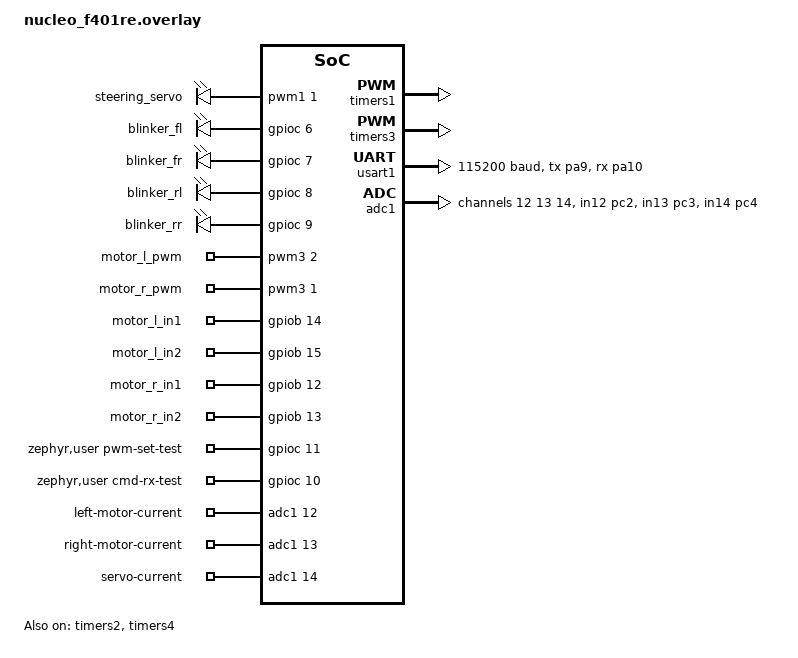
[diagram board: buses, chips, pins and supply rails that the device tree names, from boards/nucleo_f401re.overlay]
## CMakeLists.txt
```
cmake_minimum_required(VERSION 3.28.0)

option(LAB2_WHEEL_STEERING "Real wheel to steering, motors disabled" OFF)
option(LAB2_WHEEL_DUAL_DRIVE "Two-encoder mean-speed control, steering and lights" OFF)
option(LAB2_ENCODER_ONLY "Standalone encoder readout without Pi or actuator PWM" OFF)
if(LAB2_WHEEL_STEERING AND NOT LAB2_WHEEL_DUAL_DRIVE)
    message(FATAL_ERROR "The standalone steering profile was removed; enable LAB2_WHEEL_DUAL_DRIVE")
endif()
if(LAB2_WHEEL_DUAL_DRIVE AND NOT LAB2_WHEEL_STEERING)
    message(FATAL_ERROR "Dual drive requires LAB2_WHEEL_STEERING")
endif()
find_package(Zephyr REQUIRED HINTS $ENV{ZEPHYR_BASE})
project(lab2)

target_sources(app PRIVATE ../logic/instrumentation/test_points.c)
target_include_directories(app PRIVATE ../logic/instrumentation)

option(LAB2_UART_PWM_BENCH "Remote fixed-PWM voltage test" OFF)
if(LAB2_WHEEL_STEERING AND (LAB2_ENCODER_ONLY OR LAB2_UART_PWM_BENCH OR LAB2_UART_DIAGNOSTIC))
    message(FATAL_ERROR "Wheel steering is a separate profile")
endif()
if(LAB2_ENCODER_ONLY AND LAB2_UART_PWM_BENCH)
    message(FATAL_ERROR "Select either encoder-only or actuator bench")
endif()
if(LAB2_WHEEL_STEERING)
    target_sources(app PRIVATE src/wheel_dual_main.c)
    target_sources(app PRIVATE
        ../logic/steering/servo.c ../logic/steering/wheel_mapping.c
        ../logic/steering/wheel_buttons.c ../logic/blinkers/blinkers.c
        ../logic/comms/pi_link.c)
    target_include_directories(app PRIVATE ../logic/steering ../logic/comms ../logic/blinkers)
    target_compile_definitions(app PRIVATE LAB2_RAW_WHEEL_LINK=1
        SERVO_PULSE_LEFT_US=1000U SERVO_PULSE_RIGHT_US=2000U)
    # Polled every 20 ms: nominal disconnect response <=95 ms plus output execution.
    target_compile_definitions(app PRIVATE LINK_TIMEOUT_MS=75)
    if(LAB2_WHEEL_DUAL_DRIVE)
        target_sources(app PRIVATE ../logic/drive/dual_drive.c ../logic/drive/dual_speed_pid.c
            ../logic/drive/motor_control.c ../logic/drive/encoder.c ../logic/drive/encoder_math.c
            ../logic/sensing/current_sense.c
            ../logic/system/system_state.c
            src/encoder_shell.c)
        target_include_directories(app PRIVATE ../logic/drive ../logic/sensing ../logic/system)
        # User observed negative right RPM while physically driving forward: invert feedback only.
        target_compile_definitions(app PRIVATE LAB2_WHEEL_DUAL_DRIVE=1 MOTOR_TIMING_WHEEL=LEFT_MOTOR
            ENCODER_RIGHT_DEFAULT_SIGN=-1)
    endif()
elseif(LAB2_ENCODER_ONLY)
    target_sources(app PRIVATE src/encoder_only_main.c src/encoder_shell.c
        ../logic/drive/encoder.c ../logic/drive/encoder_math.c)
    target_include_directories(app PRIVATE ../logic/drive)
elseif(LAB2_UART_PWM_BENCH)
    target_sources(app PRIVATE
        src/uart_pwm_bench.c
        ../logic/system/system_state.c
        src/encoder_shell.c
        ../logic/steering/servo.c
        ../logic/blinkers/blinkers.c
        ../logic/drive/encoder.c
        ../logic/drive/encoder_math.c
        ../logic/drive/motor_control.c
        ../logic/drive/brake.c
        ../logic/comms/pi_link.c
    )
    target_include_directories(app PRIVATE ../logic/drive ../logic/comms ../logic/steering ../logic/blinkers ../logic/system)
    target_compile_definitions(app PRIVATE LINK_TIMEOUT_MS=60)
else()
target_sources(app PRIVATE
    src/main.c
    src/encoder_shell.c
    src/speed_shell.c
    ../logic/steering/servo.c
    ../logic/blinkers/blinkers.c
    ../logic/drive/motor_control.c
    ../logic/drive/brake.c
    ../logic/drive/encoder.c
    ../logic/drive/encoder_math.c
    ../logic/drive/speed_pi.c
    ../logic/drive/speed_control.c
    ../logic/sensing/current_sense.c
)

target_include_directories(app PRIVATE
    ../logic/steering
    ../logic/blinkers
    ../logic/drive
    ../logic/sensing
)

endif()

# Optional transport-only bench test; motor/servo commands from Pi are not applied.
option(LAB2_UART_DIAGNOSTIC "Enable Pi UART bench diagnostics" OFF)
if(LAB2_UART_DIAGNOSTIC AND (LAB2_UART_PWM_BENCH OR LAB2_ENCODER_ONLY OR LAB2_WHEEL_STEERING))
    message(FATAL_ERROR "Select only one UART bench profile")
endif()
if(LAB2_UART_DIAGNOSTIC)
    target_sources(app PRIVATE
        src/link_diagnostic.c
        ../logic/comms/pi_link.c
    )
    target_include_directories(app PRIVATE ../logic/comms)
    target_compile_definitions(app PRIVATE LAB2_UART_DIAGNOSTIC=1)
endif()
```

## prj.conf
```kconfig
CONFIG_PWM=y
CONFIG_GPIO=y
CONFIG_ADC=y

# Interactive servo testing over the Nucleo ST-LINK virtual serial port.
CONFIG_SERIAL=y
CONFIG_CONSOLE=y
CONFIG_UART_CONSOLE=y
CONFIG_PRINTK=y
CONFIG_SHELL=y
CONFIG_SHELL_BACKEND_SERIAL=y
CONFIG_GPIO_SHELL=y

# Dual timer quadrature encoders (TIM2/TIM4).
CONFIG_SENSOR=y
CONFIG_QDEC_STM32=y
CONFIG_SYS_CLOCK_TICKS_PER_SEC=1000
```

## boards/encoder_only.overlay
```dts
/* Keep actuator PWM pins unassigned. Encoder supplies remain external. */
&pwm1 { status = "disabled"; };
&pwm3 { status = "disabled"; };
&timers1 { status = "disabled"; };
&timers3 { status = "disabled"; };
&usart1 { status = "disabled"; };
```

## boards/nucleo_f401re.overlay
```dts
#include <zephyr/dt-bindings/pwm/pwm.h>
#include <zephyr/dt-bindings/gpio/gpio.h>
#include <zephyr/dt-bindings/adc/adc.h>

/ {
	aliases {
		steering-servo = &steering_servo;
		blinker-fl = &blinker_fl;
		blinker-fr = &blinker_fr;
		blinker-rl = &blinker_rl;
		blinker-rr = &blinker_rr;
		
		/* Motor Speed PWM Aliases */
		motor-left-pwm  = &motor_l_pwm;
		motor-right-pwm = &motor_r_pwm;

		/* Motor Direction GPIO Aliases */
		motor-left-in1  = &motor_l_in1;
		motor-left-in2  = &motor_l_in2;
		motor-right-in1 = &motor_r_in1;
		motor-right-in2 = &motor_r_in2;
	};

	servo_pwms {
		compatible = "pwm-leds";

		steering_servo: steering-servo {
			pwms = <&pwm1 1 PWM_MSEC(20) PWM_POLARITY_NORMAL>;
		};
	};

	blinker_outputs {
		compatible = "gpio-leds";

		blinker_fl: blinker-fl { gpios = <&gpioc 6 GPIO_ACTIVE_HIGH>; };
		blinker_fr: blinker-fr { gpios = <&gpioc 7 GPIO_ACTIVE_HIGH>; };
		blinker_rl: blinker-rl { gpios = <&gpioc 8 GPIO_ACTIVE_HIGH>; };
		blinker_rr: blinker-rr { gpios = <&gpioc 9 GPIO_ACTIVE_HIGH>; };
	};

	motor_pwms {
		compatible = "pwm-leds";

		motor_l_pwm: motor_l_pwm { pwms = <&pwm3 2 PWM_KHZ(20) PWM_POLARITY_NORMAL>; };
		motor_r_pwm: motor_r_pwm { pwms = <&pwm3 1 PWM_KHZ(20) PWM_POLARITY_NORMAL>; };
	};

	motor_direction {
		compatible = "gpio-leds";

		/* Physical left wheel: bridge B (PB14, PB15), confirmed during bench test. */
		motor_l_in1: motor_l_in1 { gpios = <&gpiob 14 GPIO_ACTIVE_HIGH>; };
		motor_l_in2: motor_l_in2 { gpios = <&gpiob 15 GPIO_ACTIVE_HIGH>; };

		/* Physical right wheel: bridge A (PB12, PB13). */
		motor_r_in1: motor_r_in1 { gpios = <&gpiob 12 GPIO_ACTIVE_HIGH>; };
		motor_r_in2: motor_r_in2 { gpios = <&gpiob 13 GPIO_ACTIVE_HIGH>; };
	};

	zephyr,user {
		/* ACS712 divider outputs: left PC2, right PC3, servo PC4. */
		io-channels = <&adc1 12>, <&adc1 13>, <&adc1 14>;
		io-channel-names = "left-motor-current", "right-motor-current", "servo-current";
	};

};

/* PA8 is the board's default I2C3 SCL pin, so release it for TIM1_CH1. */
&i2c3 {
	status = "disabled";
};

/* PWM1: Steering Servo (PA8 / TIM1_CH1) */
&timers1 {
	/* 84 MHz / (83 + 1) = 1 MHz, giving 1 us PWM resolution. */
	st,prescaler = <83>;
	status = "okay";

	pwm1: pwm {
		pinctrl-0 = <&tim1_ch1_pa8>;
		pinctrl-names = "default";
		status = "okay";
	};
};

/* PWM3: Drive Motors (PA6/TIM3_CH1 & PA7/TIM3_CH2 at 20 kHz) */
&timers3 {
	status = "okay";

	pwm3: pwm {
		status = "okay";
		pinctrl-0 = <&tim3_ch1_pa6 &tim3_ch2_pa7>;
		pinctrl-names = "default";
	};
};
/* Lab2 wheel encoders: 1320 counts per wheel revolution, supported by ten-turn measurements.
 * Keep Sidrisha's motor TIM3 and Ryan's servo TIM1 assignments unchanged. */
/ {
 aliases {
  encoder-left = &encoder_left;
  encoder-right = &encoder_right;
 };
 pwmleds { status = "disabled"; };
};

/* Default board drivers otherwise claim encoder and motor pins. */
&pwm2 { status = "disabled"; };
&spi1 { status = "disabled"; };
&spi2 { status = "disabled"; };

/* Preserve USART2 debug; reserve the Pi link on PA9/PA10, not PB6/PB7. */
&usart1 {
 pinctrl-0 = <&usart1_tx_pa9 &usart1_rx_pa10>;
 pinctrl-names = "default";
 current-speed = <115200>;
 status = "okay";
};

&timers2 {
 status = "okay";
 st,prescaler = <0>;
 encoder_left: qdec {
  status = "okay";
  pinctrl-0 = <&tim2_ch1_pa0 &tim2_ch2_pa1>;
  pinctrl-names = "default";
  st,encoder-mode = <3>; /* Both A/B edges: x4. */
  st,counts-per-revolution = <1320>;
  st,input-filter-level = <3>;
 };
};
&timers4 {
 status = "okay";
 st,prescaler = <0>;
 encoder_right: qdec {
  status = "okay";
  pinctrl-0 = <&tim4_ch1_pb6 &tim4_ch2_pb7>;
  pinctrl-names = "default";
  st,encoder-mode = <3>;
  st,counts-per-revolution = <1320>;
  st,input-filter-level = <3>;
 };
};

/* Scope markers: shared driver marks final LEFT PWM writes; PWM_OUT taps PA7. */
/ { zephyr,user { pwm-set-test-gpios = <&gpioc 11 GPIO_ACTIVE_HIGH>; }; };

/* USART1 is separate from the USART2 ST-LINK console. */
/ {
 chosen { pilink,uart = &usart1; };
 zephyr,user { cmd-rx-test-gpios = <&gpioc 10 GPIO_ACTIVE_HIGH>; };
};

/* ADC1: ACS712 divider outputs on PC2/IN12, PC3/IN13 and PC4/IN14. */
&adc1 {
	#address-cells = <1>;
	#size-cells = <0>;
	pinctrl-0 = <&adc1_in12_pc2 &adc1_in13_pc3 &adc1_in14_pc4>;
	pinctrl-names = "default";
	status = "okay";

	channel@c {
		reg = <12>;
		zephyr,gain = "ADC_GAIN_1";
		zephyr,reference = "ADC_REF_INTERNAL";
		zephyr,acquisition-time = <ADC_ACQ_TIME_MAX>;
		zephyr,resolution = <12>;
	};

	channel@d {
		reg = <13>;
		zephyr,gain = "ADC_GAIN_1";
		zephyr,reference = "ADC_REF_INTERNAL";
		zephyr,acquisition-time = <ADC_ACQ_TIME_MAX>;
		zephyr,resolution = <12>;
	};

	channel@e {
		reg = <14>;
		zephyr,gain = "ADC_GAIN_1";
		zephyr,reference = "ADC_REF_INTERNAL";
		zephyr,acquisition-time = <ADC_ACQ_TIME_MAX>;
		zephyr,resolution = <12>;
	};
};
```

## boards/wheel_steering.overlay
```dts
/* Steering/UART only. Motor PWM and encoder timers are not used. */
&pwm3 { status = "disabled"; };
&timers3 { status = "disabled"; };
&encoder_left { status = "disabled"; };
&encoder_right { status = "disabled"; };
&timers2 { status = "disabled"; };
&timers4 { status = "disabled"; };
```

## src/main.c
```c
#include <errno.h>
#include <stdint.h>
#include <stdlib.h>
#include <string.h>

#include <zephyr/kernel.h>
#include <zephyr/shell/shell.h>

#include "blinkers.h"
#include "current_sense.h"
#include "servo.h"
#include "motor_control.h"
#include "brake.h"
#include "encoder.h"
#include "speed_control.h"
#ifdef LAB2_UART_DIAGNOSTIC
#include "pi_link.h"
#endif

//
//	SERVO
//
static int cmd_servo_init(const struct shell *sh, size_t argc, char **argv)
{
	ARG_UNUSED(argc);
	ARG_UNUSED(argv);

	int rc = servo_init();

	if (rc != 0) {
		shell_error(sh, "servo_init failed: %d", rc);
		return rc;
	}

	shell_print(sh, "Servo initialized at center (%u us)",
		    servo_get_last_pulse_us());
	(void)blinkers_update_steering(0);
	return 0;
}

static int cmd_servo_set(const struct shell *sh, size_t argc, char **argv)
{
	char *end;
	long steering;
	int rc;

	ARG_UNUSED(argc);

	errno = 0;
	steering = strtol(argv[1], &end, 10);
	if (errno != 0 || *argv[1] == '\0' || *end != '\0' ||
	    steering < SERVO_STEERING_MIN || steering > SERVO_STEERING_MAX) {
		shell_error(sh, "Expected an integer from -100 to 100");
		return -EINVAL;
	}

	rc = servo_set_steering((int16_t)steering);
	if (rc != 0) {
		shell_error(sh, "Set failed: %d (run 'servo init' first)", rc);
		return rc;
	}

	shell_print(sh, "Steering %ld -> %u us", steering,
		    servo_get_last_pulse_us());
	(void)blinkers_update_steering((int16_t)steering);
	return 0;
}

static int cmd_servo_center(const struct shell *sh, size_t argc, char **argv)
{
	ARG_UNUSED(argc);
	ARG_UNUSED(argv);

	int rc = servo_center();

	if (rc != 0) {
		shell_error(sh, "Center failed: %d (run 'servo init' first)", rc);
		return rc;
	}

	shell_print(sh, "Servo centered at %u us", servo_get_last_pulse_us());
	(void)blinkers_update_steering(0);
	return 0;
}

static int cmd_servo_off(const struct shell *sh, size_t argc, char **argv)
{
	ARG_UNUSED(argc);
	ARG_UNUSED(argv);

	int rc = servo_disable();

	if (rc != 0) {
		shell_error(sh, "Disable failed: %d (run 'servo init' first)", rc);
		return rc;
	}

	shell_print(sh, "Servo PWM disabled");
	return 0;
}

static int cmd_servo_status(const struct shell *sh, size_t argc, char **argv)
{
	ARG_UNUSED(argc);
	ARG_UNUSED(argv);

	uint32_t pulse_us = servo_get_last_pulse_us();

	if (pulse_us == 0U) {
		shell_print(sh, "Servo PWM is inactive or not initialized");
	} else {
		shell_print(sh, "Last commanded pulse: %u us", pulse_us);
	}

	return 0;
}

SHELL_STATIC_SUBCMD_SET_CREATE(
	servo_commands,
	SHELL_CMD(init, NULL, "Initialize PWM and move to center", cmd_servo_init),
	SHELL_CMD_ARG(set, NULL, "Set steering from -100 to 100", cmd_servo_set, 2, 0),
	SHELL_CMD(center, NULL, "Move to calibrated center", cmd_servo_center),
	SHELL_CMD(off, NULL, "Disable the PWM output", cmd_servo_off),
	SHELL_CMD(status, NULL, "Show the last commanded pulse", cmd_servo_status),
	SHELL_SUBCMD_SET_END);

SHELL_CMD_REGISTER(servo, &servo_commands, "Steering servo test commands", NULL);

//
//	BLINKERS
//

static const char *blinker_mode_name(enum blinker_mode mode)
{
	switch (mode) {
	case BLINKER_MODE_OFF:
		return "off";
	case BLINKER_MODE_LEFT:
		return "left";
	case BLINKER_MODE_RIGHT:
		return "right";
	case BLINKER_MODE_HAZARD:
		return "hazard";
	default:
		return "unknown";
	}
}

static int set_blinker_mode(const struct shell *sh, enum blinker_mode mode)
{
	int rc = blinkers_set_mode(mode);

	if (rc != 0) {
		shell_error(sh, "Blinker command failed: %d", rc);
		return rc;
	}

	shell_print(sh, "Blinker mode: %s", blinker_mode_name(mode));
	return 0;
}

static int cmd_blinker_init(const struct shell *sh, size_t argc, char **argv)
{
	int rc;

	ARG_UNUSED(argc);
	ARG_UNUSED(argv);

	rc = blinkers_init();
	if (rc != 0) {
		shell_error(sh, "Blinker initialization failed: %d", rc);
		return rc;
	}

	shell_print(sh, "Blinkers initialized and off");
	return 0;
}

static int cmd_blinker_left(const struct shell *sh, size_t argc, char **argv)
{
	ARG_UNUSED(argc);
	ARG_UNUSED(argv);
	return set_blinker_mode(sh, BLINKER_MODE_LEFT);
}

static int cmd_blinker_right(const struct shell *sh, size_t argc, char **argv)
{
	ARG_UNUSED(argc);
	ARG_UNUSED(argv);
	return set_blinker_mode(sh, BLINKER_MODE_RIGHT);
}

static int cmd_blinker_hazard(const struct shell *sh, size_t argc, char **argv)
{
	ARG_UNUSED(argc);
	ARG_UNUSED(argv);
	return set_blinker_mode(sh, BLINKER_MODE_HAZARD);
}

static int cmd_blinker_off(const struct shell *sh, size_t argc, char **argv)
{
	ARG_UNUSED(argc);
	ARG_UNUSED(argv);
	return set_blinker_mode(sh, BLINKER_MODE_OFF);
}

static int cmd_blinker_steering(const struct shell *sh, size_t argc,
				char **argv)
{
	char *end;
	long steering;
	int rc;

	ARG_UNUSED(argc);

	errno = 0;
	steering = strtol(argv[1], &end, 10);
	if (errno != 0 || *argv[1] == '\0' || *end != '\0' || steering < -100 ||
	    steering > 100) {
		shell_error(sh, "Expected an integer from -100 to 100");
		return -EINVAL;
	}

	rc = blinkers_update_steering((int16_t)steering);
	if (rc != 0) {
		shell_error(sh, "Steering update failed: %d", rc);
		return rc;
	}

	shell_print(sh, "Steering %ld; mode=%s; turn-crossed=%s", steering,
		    blinker_mode_name(blinkers_get_mode()),
		    blinkers_turn_crossed() ? "yes" : "no");
	return 0;
}

static int cmd_blinker_status(const struct shell *sh, size_t argc, char **argv)
{
	ARG_UNUSED(argc);
	ARG_UNUSED(argv);

	shell_print(sh, "mode=%s steering=%d turn-crossed=%s",
		    blinker_mode_name(blinkers_get_mode()),
		    blinkers_get_last_steering(),
		    blinkers_turn_crossed() ? "yes" : "no");
	return 0;
}

SHELL_STATIC_SUBCMD_SET_CREATE(
	blinker_commands,
	SHELL_CMD(init, NULL, "Initialize all blinker GPIOs off", cmd_blinker_init),
	SHELL_CMD(left, NULL, "Select the left turn signal", cmd_blinker_left),
	SHELL_CMD(right, NULL, "Select the right turn signal", cmd_blinker_right),
	SHELL_CMD(hazard, NULL, "Flash all four outputs at 2 Hz",
		  cmd_blinker_hazard),
	SHELL_CMD(off, NULL, "Turn every blinker off", cmd_blinker_off),
	SHELL_CMD_ARG(steering, NULL, "Feed steering position from -100 to 100",
		      cmd_blinker_steering, 2, 0),
	SHELL_CMD(status, NULL, "Show the blinker state", cmd_blinker_status),
	SHELL_SUBCMD_SET_END);

SHELL_CMD_REGISTER(blinker, &blinker_commands, "Blinker test commands", NULL);

//
//	MOTOR CONTROL
//
static int cmd_motor_init(const struct shell *sh, size_t argc, char **argv)
{
    int rc = speed_control_manual_init();
    if (rc == 0) {
        shell_print(sh, "Motor driver initialized successfully.");
    } else {
        shell_error(sh, "Motor driver initialization failed: %d", rc);
    }
    return rc;
}

static int cmd_motor_set(const struct shell *sh, size_t argc, char **argv)
{
    if (argc != 4) {
        shell_error(sh, "Usage: motor set <left|right> <forward|backward|free|stop> <duty_cycle: 0-100>");
        return -EINVAL;
    }

    /* 1. Parse Motor Channel */
    motor_mapping_t motor;
    if (strcmp(argv[1], "left") == 0) {
        motor = LEFT_MOTOR;
    } else if (strcmp(argv[1], "right") == 0) {
        motor = RIGHT_MOTOR;
    } else {
        shell_error(sh, "Invalid motor: %s (use 'left' or 'right')", argv[1]);
        return -EINVAL;
    }

    /* 2. Parse Direction */
    direction_t dir;
    if (strcmp(argv[2], "forward") == 0) {
        dir = FORWARD;
    } else if (strcmp(argv[2], "backward") == 0) {
        dir = BACKWARD;
    } else if (strcmp(argv[2], "free") == 0) {
        dir = FREE;
    } else if (strcmp(argv[2], "stop") == 0) {
        dir = STOP;
    } else {
        shell_error(sh, "Invalid direction: %s (use 'forward', 'backward', 'free', or 'stop')", argv[2]);
        return -EINVAL;
    }

    /* 3. Parse Duty Cycle */
    char *end;
    errno = 0;
    unsigned long parsed_duty = strtoul(argv[3], &end, 10);

    if (errno != 0 || argv[3][0] < '0' || argv[3][0] > '9' ||
        *end != '\0' || parsed_duty > MAX_DUTY_CYCLE) {
        shell_error(sh, "Expected an integer duty cycle from 0 to %d", MAX_DUTY_CYCLE);
        return -EINVAL;
    }
    uint32_t duty_cycle = (uint32_t)parsed_duty;

    /* Execute Driver Call */
    int rc = speed_control_manual_set(motor, duty_cycle, dir);
    if (rc == 0) {
        if (dir == FREE || dir == STOP) {
            shell_print(sh, "Motor %s: %s (duty argument ignored).", argv[1],
                        dir == FREE ? "coasting, EN off" : "braking, EN on");
        } else {
            shell_print(sh, "Motor %s set to %s at %u%% duty cycle.", argv[1], argv[2], duty_cycle);
        }
    } else {
        shell_error(sh, "Failed to set motor parameters (code %d).", rc);
    }

    return rc;
}

static int cmd_motor_brake(const struct shell *sh, size_t argc, char **argv)
{
    ARG_UNUSED(argc);
    ARG_UNUSED(argv);
    int rc = speed_control_set_brake(true);
    if (rc != 0) {
        shell_error(sh, "Braking failed on at least one motor: %d", rc);
    } else {
        shell_print(sh, "Both motors: dynamic braking");
    }
    return rc;
}

SHELL_STATIC_SUBCMD_SET_CREATE(sub_motor,
    SHELL_CMD(brake, NULL, "Dynamically brake both motors", cmd_motor_brake),
    SHELL_CMD(init, NULL, "Initialize motor driver pins & PWM", cmd_motor_init),
    SHELL_CMD(set, NULL, "Set motor: motor set <left|right> <forward|backward|free|stop> <duty_cycle>", cmd_motor_set),
    SHELL_SUBCMD_SET_END
);

SHELL_CMD_REGISTER(motor, &sub_motor, "Motor driver control commands", NULL);

//
// CURRENT SENSORS
//

static int print_current_readings(const struct shell *sh)
{
	for (int i = 0; i < CURRENT_SENSE_CHANNEL_COUNT; ++i) {
		struct current_sense_sample sample;
		int rc = current_sense_read((enum current_sense_channel)i, &sample);

		if (rc != 0) {
			shell_error(sh, "%s ADC read failed: %d",
				    current_sense_channel_name(i), rc);
			return rc;
		}

		if (sample.zero_valid) {
			shell_print(sh,
				    "%s: raw=%u adc=%d mV delta=%+d mV current=%+d mA",
				    current_sense_channel_name(i), sample.raw,
				    sample.adc_mv, sample.delta_mv,
				    sample.current_ma);
		} else {
			shell_print(sh,
				    "%s: raw=%u adc=%d mV (run 'current zero' unloaded)",
				    current_sense_channel_name(i), sample.raw,
				    sample.adc_mv);
		}
	}

	return 0;
}

static int cmd_current_init(const struct shell *sh, size_t argc, char **argv)
{
	ARG_UNUSED(argc);
	ARG_UNUSED(argv);

	int rc = current_sense_init();

	if (rc != 0) {
		shell_error(sh, "Current sensor ADC initialization failed: %d", rc);
		return rc;
	}

	shell_print(sh, "Current sensor ADC initialized (PC2 left, PC3 right, PC4 servo)");
	return 0;
}

static int cmd_current_read(const struct shell *sh, size_t argc, char **argv)
{
	ARG_UNUSED(argc);
	ARG_UNUSED(argv);

	return print_current_readings(sh);
}

static int cmd_current_zero(const struct shell *sh, size_t argc, char **argv)
{
	int rc;

	ARG_UNUSED(argc);
	ARG_UNUSED(argv);

	rc = current_sense_zero_all();
	if (rc != 0) {
		shell_error(sh, "Current sensor zero calibration failed: %d", rc);
		return rc;
	}

	shell_print(sh, "Captured unloaded zero for all current sensors");
	return print_current_readings(sh);
}

static int cmd_current_servo_sweep(const struct shell *sh, size_t argc,
				   char **argv)
{
	struct current_sense_sample sample;
	int32_t minimum_ma = INT32_MAX;
	int32_t maximum_ma = INT32_MIN;
	int32_t peak_ma = 0;
	int64_t total_ma = 0;
	int64_t deadline;
	uint32_t count = 0U;
	int rc;

	ARG_UNUSED(argc);
	ARG_UNUSED(argv);

	rc = current_sense_read(CURRENT_SENSE_SERVO, &sample);
	if (rc != 0 || !sample.zero_valid) {
		shell_error(sh, "Run 'current zero' with the servo supply off first");
		return rc != 0 ? rc : -EACCES;
	}

	rc = servo_init();
	if (rc != 0) {
		shell_error(sh, "Servo initialization failed: %d", rc);
		return rc;
	}
	/* Establish a known starting position before capturing a full movement. */
	k_msleep(300);
	rc = servo_set_steering(-50);
	if (rc != 0) {
		goto cleanup;
	}
	k_msleep(300);
	rc = servo_set_steering(50);
	if (rc != 0) {
		goto cleanup;
	}

	deadline = k_uptime_get() + 600;
	while (k_uptime_get() < deadline) {
		int32_t magnitude;

		rc = current_sense_read(CURRENT_SENSE_SERVO, &sample);
		if (rc != 0) {
			goto cleanup;
		}
		minimum_ma = MIN(minimum_ma, sample.current_ma);
		maximum_ma = MAX(maximum_ma, sample.current_ma);
		magnitude = sample.current_ma < 0 ? -sample.current_ma
						 : sample.current_ma;
		peak_ma = MAX(peak_ma, magnitude);
		total_ma += sample.current_ma;
		count++;
		k_msleep(2);
	}

cleanup:
	(void)servo_center();
	k_msleep(200);
	(void)servo_disable();
	if (rc != 0) {
		shell_error(sh, "Servo current capture failed: %d", rc);
		return rc;
	}
	if (count == 0U) {
		return -EIO;
	}

	shell_print(sh,
		    "Servo sweep captured %u readings: min=%+d mA max=%+d mA average=%+lld mA peak_abs=%d mA",
		    count, minimum_ma, maximum_ma,
		    (long long)(total_ma / count), peak_ma);
	shell_print(sh, "Servo returned to center and PWM is off");
	return 0;
}

static int cmd_current_motor_run(const struct shell *sh, size_t argc,
				 char **argv)
{
	enum current_sense_channel channel;
	motor_mapping_t motor;
	const char *name;
	struct current_sense_sample sample;
	int32_t minimum_ma = INT32_MAX;
	int32_t maximum_ma = INT32_MIN;
	int32_t peak_ma = 0;
	int64_t total_ma = 0;
	int64_t deadline;
	uint32_t count = 0U;
	int rc;

	if (argc != 2) {
		shell_error(sh, "Usage: current motor_run <left|right>");
		return -EINVAL;
	}
	if (strcmp(argv[1], "left") == 0) {
		channel = CURRENT_SENSE_LEFT_MOTOR;
		motor = LEFT_MOTOR;
		name = "Left";
	} else if (strcmp(argv[1], "right") == 0) {
		channel = CURRENT_SENSE_RIGHT_MOTOR;
		motor = RIGHT_MOTOR;
		name = "Right";
	} else {
		shell_error(sh, "Expected left or right");
		return -EINVAL;
	}

	rc = current_sense_read(channel, &sample);
	if (rc != 0 || !sample.zero_valid) {
		shell_error(sh, "Run 'current zero' with both outputs inactive first");
		return rc != 0 ? rc : -EACCES;
	}

	rc = sys_motor_set(motor, 50U, FORWARD);
	if (rc != 0) {
		shell_error(sh, "%s motor start failed: %d", name, rc);
		return rc;
	}

	deadline = k_uptime_get() + 600;
	while (k_uptime_get() < deadline) {
		int32_t magnitude;

		rc = current_sense_read(channel, &sample);
		if (rc != 0) {
			break;
		}
		minimum_ma = MIN(minimum_ma, sample.current_ma);
		maximum_ma = MAX(maximum_ma, sample.current_ma);
		magnitude = sample.current_ma < 0 ? -sample.current_ma
						 : sample.current_ma;
		peak_ma = MAX(peak_ma, magnitude);
		total_ma += sample.current_ma;
		count++;
		k_msleep(2);
	}

	/* Cleanup is unconditional: never leave the motor enabled after capture. */
	{
		int stop_rc = sys_motor_set(motor, 0U, FREE);

		if (rc == 0 && stop_rc != 0) {
			rc = stop_rc;
		}
	}
	if (rc != 0) {
		shell_error(sh, "%s motor current capture failed; coast requested: %d",
			    name, rc);
		return rc;
	}
	if (count == 0U) {
		return -EIO;
	}

	shell_print(sh,
		    "%s motor 50%% captured %u readings: min=%+d mA max=%+d mA average=%+lld mA peak_abs=%d mA",
		    name, count, minimum_ma, maximum_ma,
		    (long long)(total_ma / count), peak_ma);
	shell_print(sh, "%s motor is coasting with EN off", name);
	return 0;
}

SHELL_STATIC_SUBCMD_SET_CREATE(
	current_commands,
	SHELL_CMD(init, NULL, "Initialize PC3 and PC4 ADC channels", cmd_current_init),
	SHELL_CMD(read, NULL, "Read averaged ADC voltage and signed current",
		  cmd_current_read),
	SHELL_CMD(zero, NULL, "Capture unloaded readings as zero current",
		  cmd_current_zero),
	SHELL_CMD(servo_sweep, NULL,
		  "Sweep servo -50 to +50 while capturing PC4 current",
		  cmd_current_servo_sweep),
	SHELL_CMD(motor_run, NULL,
		  "Run motor at 50% for 600 ms: current motor_run <left|right>",
		  cmd_current_motor_run),
	SHELL_SUBCMD_SET_END);

SHELL_CMD_REGISTER(current, &current_commands, "ACS712 current sensor commands",
		   NULL);

//
//	MAIN
//

int main(void)
{
	int blinker_rc = blinkers_init();
	int encoder_rc = encoders_init();
	int motor_rc = speed_control_init();
	int current_rc = current_sense_init();
	printk("Encoder init: %d; use encoder status / zero / sign\n", encoder_rc);
#ifdef LAB2_UART_DIAGNOSTIC
	pi_link_init();
	/* Bench mode is deliberately not vehicle-ready. */
	pi_link_set_zone_state_override(ZONE_STATE_SYS_ERROR);
	printk("Pi UART test mode: receive/report only; no remote actuation.\n");
#endif

	printk("Closed-loop drive is disarmed. Use drive arm, then drive throttle.\n");
	printk("Motor test shell ready. Type 'motor' for commands.\n");
	if (motor_rc != 0) {
			printk("Motor initialization failed: %d\n", motor_rc);
	}
	printk("Servo test shell ready. Type 'servo' for commands.\n");
	printk("PWM remains off until 'servo init'.\n");
	if (blinker_rc == 0) {
		printk("Blinker test shell ready. Type 'blinker' for commands.\n");
	} else {
		printk("Blinker initialization failed: %d\n", blinker_rc);
	}
	if (current_rc == 0) {
		printk("Current sensors ready: PC2 left, PC3 right, PC4 servo. Type 'current'.\n");
		printk("Run 'current zero' only with both loads off or disconnected.\n");
	} else {
		printk("Current sensor initialization failed: %d\n", current_rc);
	}
	return 0;
}

/*	MOTOR CONTROL DEBUGGING */
// int main(void)
// {
// 	motor_init();
// 	blinkers_init();

// 	/* 1. Drive Forward at 50% Speed */
// 	motor_set_throttle(20, MOTOR_DIR_FORWARD);

// 	k_msleep(2000);
// 	motor_set_throttle(0, MOTOR_DIR_FORWARD);
// 	// k_msleep(2000);
// 	motor_set_throttle(20, MOTOR_DIR_BACKWARD);

// 	/* 2. Hit Brake Pedal (Priority Brake engages immediately) */
// 	// motor_set_brake(true);

// 	// k_msleep(1000);

// 	/* 3. Release Brake Pedal (Returns output back to 50% Forward) */
// 	// motor_set_brake(false);

// 	return 0;
// }

// int main(void)
// {
//     motor_init();

//     while (1) {
//         /* Drive Forward at 20% speed for 2 seconds */
//         sys_motor_set(LEFT_MOTOR, 70, FORWARD);
//         sys_motor_set(RIGHT_MOTOR, 70, FORWARD);
//         k_msleep(2000);

//         /* FREE Coast (00) for 2 seconds - Stops heating! */
//         sys_motor_set(LEFT_MOTOR, 0, FREE);
//         sys_motor_set(RIGHT_MOTOR, 0, FREE);
//         k_msleep(2000);

//         /* Drive Backward at 20% speed for 2 seconds */
//         sys_motor_set(LEFT_MOTOR, 70, BACKWARD);
//         sys_motor_set(RIGHT_MOTOR, 70, BACKWARD);
//         k_msleep(2000);

//         /* STOP Brake for 1 second */
//         sys_motor_set(LEFT_MOTOR, 0, STOP);
//         sys_motor_set(RIGHT_MOTOR, 0, STOP);
//         k_msleep(1000);
//     }

//     return 0;
// }

// int main(void)
// {
//     printk("motor_init rc=%d\n", motor_init());

//     for (int m = 0; m < NUM_MOTORS; m++) {
//         printk("--- motor %d: IN1 only ---\n", m);
//         motor_debug_pins(m, 1, 0, 100);
//         k_msleep(4000);
//         printk("--- motor %d: IN2 only ---\n", m);
//         motor_debug_pins(m, 0, 1, 100);
//         k_msleep(4000);
//         motor_debug_pins(m, 0, 0, 0);
//     }
//     return 0;
// }

// int main(void)
// {
//     printk("motor_init rc=%d\n", motor_init());
//     sys_motor_set(RIGHT_MOTOR, 100, FREE);  /* enable held high, IN pins low */
//     return 0;
// }
```

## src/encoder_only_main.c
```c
/* Standalone encoder readout over ST-LINK USB; no actuator or Pi-link code. */
#include <zephyr/kernel.h>
#include "encoder.h"

int main(void)
{
    int rc = encoders_init();
    printk("ENCODER ONLY: left PA0/PA1 (TIM2), right PB6/PB7 (TIM4).\n");
    printk("Encoder init=%d; CPR=%u, nominal value checked against ten hand-turned revolutions.\n",
           rc, COUNTS_PER_WHEEL_REV);
    printk("Use encoder watch / encoder stop for live output; encoder status / zero / sign remain available.\n");
    printk("No Pi needed; motor PWM, servo PWM and USART1 are disabled in this profile.\n");
    return 0;
}
```

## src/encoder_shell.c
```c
#include <errno.h>
#include <string.h>
#include <zephyr/shell/shell.h>
#include <zephyr/kernel.h>
#include "encoder.h"

static int cmd_encoder_status(const struct shell *sh, size_t argc, char **argv)
{
    ARG_UNUSED(argc); ARG_UNUSED(argv);
    struct encoder_snapshot s;
    int rc = encoders_get(&s);
    if (rc) { shell_error(sh, "Encoder unavailable: %d", rc); return rc; }
    for (unsigned i = 0; i < ENCODER_WHEEL_COUNT; i++) {
        struct encoder_sample *w = &s.wheel[i];
        shell_print(sh, "%s count=%lld raw=%u delta=%d rpm_milli=%d dt_us=%llu sign=%d valid=%d dropped=%u",
                    i == ENCODER_LEFT ? "left" : "right",
                    (long long)w->count, w->raw_counter, w->delta, w->rpm_milli,
                    (unsigned long long)w->elapsed_us, w->direction_sign, w->valid,
                    w->dropped_samples);
    }
    shell_print(sh, "mean_rpm_milli=%d valid=%d; CPR=%u (10-turn calibration)",
                s.average_rpm_milli, s.valid, COUNTS_PER_WHEEL_REV);
    return 0;
}

static int cmd_encoder_zero(const struct shell *sh, size_t argc, char **argv)
{
    ARG_UNUSED(argc); ARG_UNUSED(argv);
    int rc = encoders_zero();
    if (rc) shell_error(sh, "Zero failed: %d", rc);
    else shell_print(sh, "Both software counts zeroed; next sample refreshes speed.");
    return rc;
}

static int cmd_encoder_sign(const struct shell *sh, size_t argc, char **argv)
{
    ARG_UNUSED(argc);
    enum encoder_wheel w;
    if (!strcmp(argv[1], "left")) w = ENCODER_LEFT;
    else if (!strcmp(argv[1], "right")) w = ENCODER_RIGHT;
    else { shell_error(sh, "Use left or right"); return -EINVAL; }
    int sign;
    if (!strcmp(argv[2], "1")) sign = 1;
    else if (!strcmp(argv[2], "-1")) sign = -1;
    else { shell_error(sh, "Sign must be 1 or -1"); return -EINVAL; }
    int rc = encoders_set_sign(w, sign);
    if (rc) shell_error(sh, "Sign change failed: %d", rc);
    else shell_print(sh, "%s sign=%d; its count baseline was reset", argv[1], sign);
    return rc;
}

/* Low-priority display task; encoder sampling remains independent. */
static K_MUTEX_DEFINE(watch_lock);
static const struct shell *watch_shell;

static void encoder_watch_thread(void *a, void *b, void *c)
{
    ARG_UNUSED(a); ARG_UNUSED(b); ARG_UNUSED(c);
    for (;;) {
        k_sleep(K_MSEC(200));
        k_mutex_lock(&watch_lock, K_FOREVER);
        const struct shell *sh = watch_shell;
        k_mutex_unlock(&watch_lock);
        /* Never hold watch_lock while printing: the shell command path can hold its own lock. */
        if (sh) {
            struct encoder_snapshot s;
            int rc = encoders_get(&s);
            if (rc) shell_error(sh, "Encoder unavailable: %d", rc);
            else {
                int64_t l = s.wheel[0].rpm_milli, r = s.wheel[1].rpm_milli;
                int64_t lm = l < 0 ? -l : l, rm = r < 0 ? -r : r;
                shell_print(sh,
                    "L count=%lld rpm=%s%lld.%03lld | R count=%lld rpm=%s%lld.%03lld | valid=%u/%u",
                    (long long)s.wheel[0].count, l < 0 ? "-" : "", (long long)(lm/1000), (long long)(lm%1000),
                    (long long)s.wheel[1].count, r < 0 ? "-" : "", (long long)(rm/1000), (long long)(rm%1000),
                    s.wheel[0].valid, s.wheel[1].valid);
            }
        }
    }
}
K_THREAD_DEFINE(encoder_watch_tid, 1536, encoder_watch_thread, NULL, NULL, NULL, 10, 0, 0);

static int cmd_encoder_watch(const struct shell *sh, size_t argc, char **argv)
{
    ARG_UNUSED(argc); ARG_UNUSED(argv);
    struct encoder_snapshot s;
    int rc = encoders_get(&s);
    if (rc) { shell_error(sh, "Encoder unavailable: %d", rc); return rc; }
    shell_print(sh, "Live encoder output every 200 ms. Use encoder stop to stop.");
    k_mutex_lock(&watch_lock, K_FOREVER);
    watch_shell = sh;
    k_mutex_unlock(&watch_lock);
    return 0;
}

static int cmd_encoder_stop(const struct shell *sh, size_t argc, char **argv)
{
    ARG_UNUSED(argc); ARG_UNUSED(argv);
    k_mutex_lock(&watch_lock, K_FOREVER);
    watch_shell = NULL;
    k_mutex_unlock(&watch_lock);
    shell_print(sh, "Live encoder output stopped.");
    return 0;
}

SHELL_STATIC_SUBCMD_SET_CREATE(encoder_commands,
    SHELL_CMD_ARG(watch, NULL, "Stream counts and RPM every 200 ms", cmd_encoder_watch, 1, 0),
    SHELL_CMD_ARG(stop, NULL, "Stop live encoder output", cmd_encoder_stop, 1, 0),
    SHELL_CMD_ARG(status, NULL, "Read counts, signed rpm*1000 and mean", cmd_encoder_status, 1, 0),
    SHELL_CMD_ARG(zero, NULL, "Zero both software counts", cmd_encoder_zero, 1, 0),
    SHELL_CMD_ARG(sign, NULL, "Set direction: encoder sign <left|right> <1|-1>", cmd_encoder_sign, 3, 0),
    SHELL_SUBCMD_SET_END);
SHELL_CMD_REGISTER(encoder, &encoder_commands, "Dual wheel encoder checks", NULL);
```

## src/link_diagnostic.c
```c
/* Bench UART check only: incoming commands never actuate the vehicle. */
#include <zephyr/kernel.h>
#include <zephyr/shell/shell.h>
#include "pi_link.h"

void pi_link_on_command_received(const cmd_payload_t *cmd, bool plausible)
{
    printk("UART RX: steer=%d throttle=%d brake=%d buttons=%u flags=%u valid=%d (test only)\n",
           cmd->steering_raw, cmd->throttle_raw, cmd->brake_raw,
           cmd->buttons, cmd->flags, plausible);
}

void pi_link_get_currents(uint16_t *left, uint16_t *right, uint16_t *servo)
{
    /* No sensors connected: do not report zero as a measurement. */
    *left = *right = *servo = UINT16_MAX;
}

static int status_command(const struct shell *sh, size_t argc, char **argv)
{
    ARG_UNUSED(argc);
    ARG_UNUSED(argv);
    shell_print(sh, "UART test only: alive=%d received=%u rejected=%u seq_gaps=%u",
                pi_link_is_alive(), pi_link_rx_valid_count(),
                pi_link_rx_crc_fail_count(), pi_link_rx_seq_gap_count());
    return 0;
}

SHELL_STATIC_SUBCMD_SET_CREATE(link_commands,
    SHELL_CMD(status, NULL, "UART transport counters (no actuation)", status_command),
    SHELL_SUBCMD_SET_END
);
SHELL_CMD_REGISTER(link, &link_commands, "Pi UART diagnostics", NULL);
```

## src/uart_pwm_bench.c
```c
/* Integrated actuator bench with one owner for fault state and all outputs. */
#include <errno.h>
#include <zephyr/kernel.h>
#include <zephyr/shell/shell.h>
#include <stm32_ll_tim.h>
#include "motor_control.h"
#include "brake.h"
#include "pi_link.h"
#include "servo.h"
#include "blinkers.h"
#include "encoder.h"
#include "system_state.h"
#include "test_points.h"

static K_MUTEX_DEFINE(output_lock);
static struct system_state state;
static bool braking = true, servo_ready, have_light_request;
static uint8_t last_light_event;
static uint16_t duty, accepted;
static int16_t steering;

static bool initialize_modules(void)
{
    int motor_rc = motor_init();
    int brake_rc = motor_brake_all();
    int light_rc = blinkers_init();
    int encoder_rc = encoders_init();
    int servo_rc = servo_prepare();
    servo_ready = servo_rc == 0;
    return motor_rc == 0 && brake_rc == 0 && light_rc == 0 && servo_rc == 0 &&
           (encoder_rc == 0 || encoder_rc == -EALREADY);
}

static void brake_locked(void)
{
    if (motor_brake_all()) system_state_output_failed(&state);
    braking = true;
    duty = 0; /* Propulsion duty; EN is HIGH while dynamically braking. */
}
static void fail_safe_locked(void)
{
    brake_locked();
    if (servo_ready && servo_get_last_pulse_us() && servo_center()) system_state_output_failed(&state);
    if (blinkers_get_mode() != BLINKER_MODE_HAZARD && blinkers_set_error(true)) system_state_output_failed(&state);
    have_light_request = false;
}

static bool well_formed(const cmd_payload_t *cmd, bool plausible)
{
    return plausible && (cmd->flags & 0xFCU) == 0x80U &&
        cmd->steering_raw >= -100 && cmd->steering_raw <= 100 &&
        cmd->throttle_raw >= 0 && cmd->throttle_raw <= 100 &&
        cmd->brake_raw >= 0 && cmd->brake_raw <= 100;
}
bool pi_link_command_is_fresh(const cmd_payload_t *cmd, bool plausible)
{
    return well_formed(cmd, plausible) && !(cmd->flags & 1U);
}

static void apply_command_locked(const cmd_payload_t *cmd)
{
    if (cmd->brake_raw > 0) brake_locked();
    else {
        direction_t dir = cmd->throttle_raw ? FORWARD : FREE;
        int a = sys_motor_set(LEFT_MOTOR, cmd->throttle_raw, dir);
        int b = sys_motor_set(RIGHT_MOTOR, cmd->throttle_raw, dir);
        if (a || b) system_state_output_failed(&state);
        else { duty = cmd->throttle_raw; braking = false; }
    }
    if (system_state_reason(&state) != SYS_OK) { fail_safe_locked(); return; }
    bool enable_servo = (cmd->buttons & 4U) != 0;
    int servo_rc = enable_servo ? servo_set_steering(cmd->steering_raw) : servo_disable();
    if (servo_rc) { system_state_output_failed(&state); fail_safe_locked(); return; }
    steering = cmd->steering_raw;
    uint8_t event = cmd->buttons >> 8;
    if (!have_light_request || event != last_light_event) {
        if (blinkers_set_mode((enum blinker_mode)(cmd->buttons & 3U))) system_state_output_failed(&state);
        last_light_event = event;
        have_light_request = true;
    }
    /* Repeated control packets must not undo auto-cancel or restart blink phase. */
    if (blinkers_update_steering(steering)) system_state_output_failed(&state);
    if (system_state_reason(&state) != SYS_OK) fail_safe_locked();
}

void pi_link_on_command_received(const cmd_payload_t *cmd, bool plausible)
{
    k_mutex_lock(&output_lock, K_FOREVER);
    if (!well_formed(cmd, plausible)) {
        system_state_bad_input(&state);
    } else {
        uint8_t test_counter = (cmd->buttons >> 3) & 31U;
        bool sync = (cmd->flags & 2U) != 0 || !state.button_synced;
        if (sync) system_state_sync_button(&state, test_counter);
        if (cmd->flags & 1U) {
            system_state_link_lost(&state);
        } else {
            accepted++;
            system_state_valid(&state);
            bool recover = !sync && system_state_button(&state, test_counter, (uint64_t)k_uptime_get());
            if (recover && (!state.hardware_ready || state.output_fault)) {
                system_state_reinitialized(&state, initialize_modules());
                fail_safe_locked();
            }
        }
    }
    if (system_state_reason(&state) == SYS_OK) apply_command_locked(cmd);
    else fail_safe_locked();
    k_mutex_unlock(&output_lock);
}
void pi_link_on_link_restored(void) { /* A transport event alone cannot release outputs. */ }
void pi_link_on_link_lost(void)
{
    k_mutex_lock(&output_lock, K_FOREVER);
    system_state_link_lost(&state);
    fail_safe_locked();
    k_mutex_unlock(&output_lock);
}
void pi_link_on_invalid_frame(void)
{
    k_mutex_lock(&output_lock, K_FOREVER);
    system_state_bad_input(&state);
    fail_safe_locked();
    k_mutex_unlock(&output_lock);
}

void pi_link_customize_heartbeat(hb_payload_t *hb)
{
    k_mutex_lock(&output_lock, K_FOREVER);
    enum system_reason reason = system_state_reason(&state);
    /* State and outputs are captured together; this is not the current-sensor format. */
    hb->zone_state = reason == SYS_OK ? ZONE_STATE_NORMAL :
        reason == SYS_STARTUP ? ZONE_STATE_INIT : reason == SYS_SELF_TEST ? ZONE_STATE_LOCAL_FAIL :
        reason == SYS_LINK_LOST ? ZONE_STATE_LINK_LOST : ZONE_STATE_SYS_ERROR;
    hb->bus_degraded = 0xB3;
    hb->current_motor_l = duty | ((uint16_t)state.test_counter << 8);
    hb->current_motor_r = (braking ? 1U : 0U) |
        ((uint16_t)blinkers_get_mode() << 1) |
        (servo_get_last_pulse_us() ? 8U : 0U) |
        (blinkers_turn_crossed() ? 16U : 0U) | (state.self_test ? 32U : 0U) |
        (((GPIOC->ODR >> 6) & 15U) << 8) | ((uint16_t)reason << 12);
    hb->current_servo = (uint16_t)servo_get_last_pulse_us();
    k_mutex_unlock(&output_lock);
}

static int status_cmd(const struct shell *sh, size_t argc, char **argv)
{
    ARG_UNUSED(argc); ARG_UNUSED(argv);
    k_mutex_lock(&output_lock, K_FOREVER);
    struct system_state snapshot = state;
    uint16_t current_duty = duty, count = accepted;
    bool current_brake = braking;
    int16_t current_steering = steering;
    uint32_t period3 = LL_TIM_GetAutoReload(TIM3)+1;
    uint32_t left = LL_TIM_OC_GetCompareCH2(TIM3), right = LL_TIM_OC_GetCompareCH1(TIM3);
    uint32_t port_b = GPIOB->ODR, port_c = GPIOC->ODR;
    uint32_t period1 = LL_TIM_GetAutoReload(TIM1)+1, compare1 = LL_TIM_OC_GetCompareCH1(TIM1);
    uint32_t pulse = servo_get_last_pulse_us();
    unsigned lights = blinkers_get_mode(), crossed = blinkers_turn_crossed();
    k_mutex_unlock(&output_lock);
    struct test_point_counts marks = test_points_counts();
    shell_print(sh, "Test points: CMD_RX=%u PWM_SET=%u errors=%u PC10=%u PC11=%u",
                marks.command_rx, marks.pwm_set, marks.errors,
                !!(GPIOC->ODR & BIT(10)), !!(GPIOC->ODR & BIT(11)));
    /* Console logging must not block command handling while holding output_lock. */
    shell_print(sh, "Actuator bench: duty=%u brake=%u fault=%u accepted=%u received=%u rejected=%u",
                current_duty, current_brake, system_state_reason(&snapshot) != SYS_OK, count,
                pi_link_rx_valid_count(), pi_link_rx_crc_fail_count());
    shell_print(sh, "State=%s ready=%u self_test=%u input_error=%u output_error=%u test_ack=%u timeout_age_ms=%u",
                system_reason_name(system_state_reason(&snapshot)), snapshot.hardware_ready, snapshot.self_test,
                snapshot.bad_input, snapshot.output_fault, snapshot.test_counter, pi_link_last_timeout_age_ms());
    shell_print(sh, "TIM3: period=%u left_compare=%u right_compare=%u; PB12..15=%u%u%u%u",
                period3, left, right, !!(port_b & BIT(12)), !!(port_b & BIT(13)),
                !!(port_b & BIT(14)), !!(port_b & BIT(15)));
    shell_print(sh, "Steering=%d pulse_us=%u; TIM1 period=%u compare=%u; lights=%u crossed=%u PC6..9=%u%u%u%u",
                current_steering, pulse, period1, compare1, lights, crossed,
                !!(port_c & BIT(6)), !!(port_c & BIT(7)), !!(port_c & BIT(8)), !!(port_c & BIT(9)));
    return 0;
}
static int inject_output_fault(const struct shell *sh, size_t argc, char **argv)
{
    ARG_UNUSED(argc); ARG_UNUSED(argv);
    k_mutex_lock(&output_lock, K_FOREVER);
    system_state_output_failed(&state);
    fail_safe_locked();
    k_mutex_unlock(&output_lock);
    shell_print(sh, "Simulated output fault latched; double-press requests hardware reinitialization.");
    return 0;
}
SHELL_STATIC_SUBCMD_SET_CREATE(bench_commands,
    SHELL_CMD(output_fault, NULL, "Simulate output failure for state testing", inject_output_fault),
    SHELL_CMD(status, NULL, "Read motor, steering and lighting output registers", status_cmd),
    SHELL_SUBCMD_SET_END
);
SHELL_CMD_REGISTER(bench, &bench_commands, "Integrated actuator test", NULL);


int main(void)
{
    system_state_init(&state, initialize_modules());
    fail_safe_locked();
    pi_link_init();
    printk("ACTUATOR TEST with unified fault state; startup brake/hazards, servo PWM off.\n");
    printk("Self-test: press -> fail now; second press 50..500 ms later -> recovery request.\n");
    printk("Use bench status / encoder status. UART watchdog: 60 ms threshold + periodic check.\n");
    return 0;
}
```
